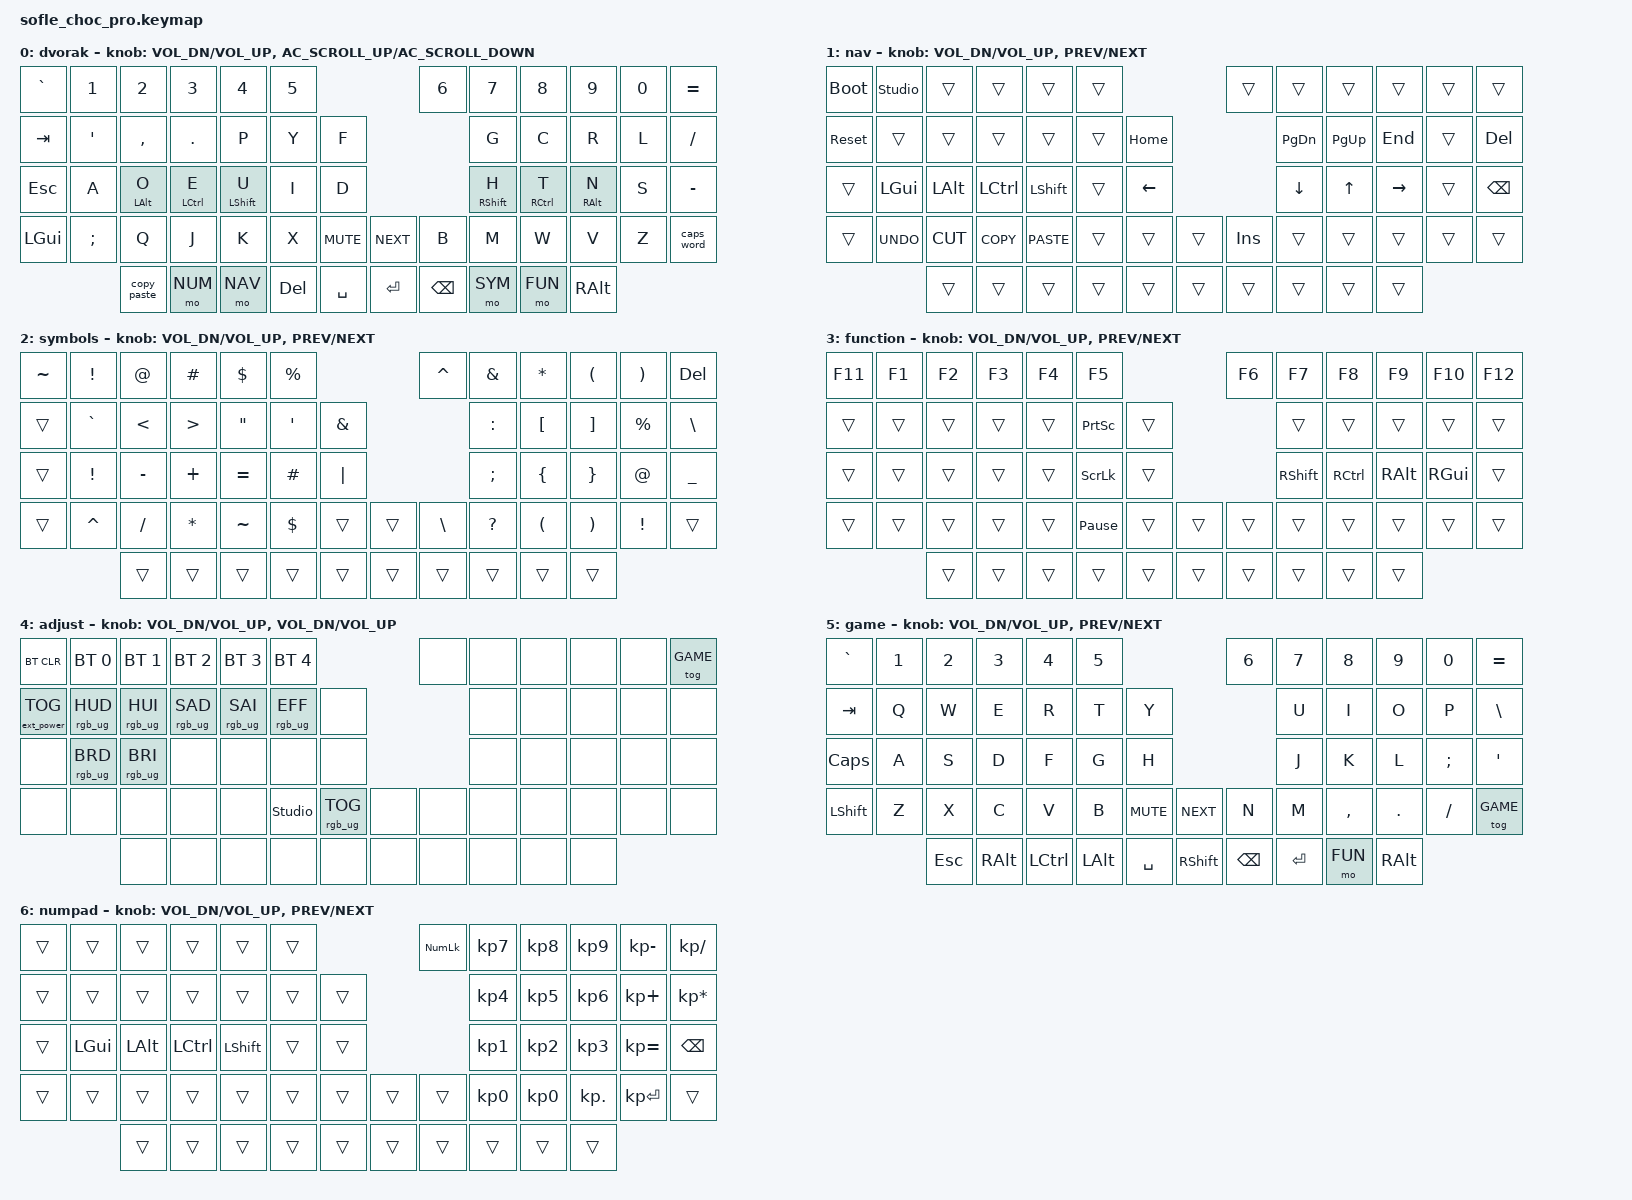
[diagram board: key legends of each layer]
/*
 * Copyright (c) 2020 The ZMK Contributors
 *
 * SPDX-License-Identifier: MIT
 */

#include <behaviors/caps_word.dtsi>
#include <dt-bindings/zmk/mouse.h>
#include <behaviors.dtsi>
#include <dt-bindings/zmk/bt.h>
#include <dt-bindings/zmk/ext_power.h>
#include <dt-bindings/zmk/keys.h>
#include <dt-bindings/zmk/pointing.h>
#include <dt-bindings/zmk/rgb.h>

#define BASE 0
#define NAV 1
#define SYM 2
#define FUN 3
#define ADJUST 4
#define GAME 5
#define NUM 6

/* Custom caps_word with continue-list for SNAKE_CASE and hyphenated-words */

&caps_word { continue-list = <UNDERSCORE MINUS BACKSPACE DELETE>; };

/ {
    behaviors {
        copy_paste: copy_paste {
            compatible = "zmk,behavior-mod-morph";
            label = "COPY_PASTE";
            #binding-cells = <0>;
            bindings = <&kp LC(C)>, <&kp LC(V)>;

            mods = <(MOD_LSFT|MOD_RSFT)>;
        };

        hml: home_row_mod_left {
            compatible = "zmk,behavior-hold-tap";
            label = "HOME_ROW_MOD_LEFT";
            bindings = <&kp>, <&kp>;

            #binding-cells = <2>;
            tapping-term-ms = <280>;
            quick-tap-ms = <175>;
            require-prior-idle-ms = <150>;
            flavor = "balanced";
            hold-trigger-on-release;
            hold-trigger-key-positions = <6 7 8 9 10 11 18 19 20 21 22 23 30 31 32 33 34 35 43 44 45 46 47 48 49 55 56 57 58 59>;
        };

        scroll_encoder: scroll_encoder {
            compatible = "zmk,behavior-sensor-rotate";
            #sensor-binding-cells = <0>;
            bindings = <&msc SCRL_DOWN>, <&msc SCRL_UP>;

            tap-ms = <30>;
        };

        hmr: home_row_mod_right {
            compatible = "zmk,behavior-hold-tap";
            label = "HOME_ROW_MOD_RIGHT";
            bindings = <&kp>, <&kp>;

            #binding-cells = <2>;
            tapping-term-ms = <280>;
            quick-tap-ms = <175>;
            require-prior-idle-ms = <150>;
            flavor = "balanced";
            hold-trigger-on-release;
            hold-trigger-key-positions = <0 1 2 3 4 5 12 13 14 15 16 17 24 25 26 27 28 29 36 37 38 39 40 41 42 50 51 52 53 54>;
        };
    };

    combos {
        compatible = "zmk,combos";

        combo_caps_word {
            timeout-ms = <50>;
            key-positions = <54 55>;
            bindings = <&caps_word>;
        };
    };

    conditional_layers {
        compatible = "zmk,conditional-layers";

        adjust_layer {
            if-layers = <NAV FUN>;
            then-layer = <ADJUST>;
        };
    };

    keymap {
        compatible = "zmk,keymap";

        base_layer {
            display-name = "dvorak";
            bindings = <
&kp GRAVE  &kp N1    &kp N2       &kp N3        &kp N4        &kp N5                                     &kp N6    &kp N7        &kp N8        &kp N9       &kp N0  &kp EQUAL
&kp TAB    &kp SQT   &kp COMMA    &kp DOT       &kp P         &kp Y    &kp F                                       &kp G         &kp C         &kp R        &kp L   &kp FSLH
&kp ESC    &kp A     &hml LALT O  &hml LCTRL E  &hml LSHFT U  &kp I    &kp D                                       &hmr RSHFT H  &hmr RCTRL T  &hmr RALT N  &kp S   &kp MINUS
&kp LGUI   &kp SEMI  &kp Q        &kp J         &kp K         &kp X    &kp C_MUTE       &kp C_NEXT       &kp B     &kp M         &kp W         &kp V        &kp Z   &caps_word
                     &copy_paste  &mo NUM       &mo NAV       &kp DEL  &kp SPACE  &kp ENTER  &kp BSPC  &mo SYM       &mo FUN       &kp RALT
            >;

            sensor-bindings =
                <&inc_dec_kp C_VOL_DN C_VOL_UP>,
                <&inc_dec_kp C_AC_SCROLL_UP C_AC_SCROLL_DOWN>;
        };

        nav_layer {
            display-name = "nav";
            bindings = <
&bootloader  &studio_unlock  &trans     &trans      &trans       &trans                    &trans   &trans     &trans     &trans     &trans  &trans
&sys_reset   &trans          &trans     &trans      &trans       &trans  &kp HOME                   &kp PG_DN  &kp PG_UP  &kp END    &trans  &kp DEL
&trans       &kp LGUI        &kp LALT   &kp LCTRL   &kp LSHFT    &trans  &kp LEFT                   &kp DOWN   &kp UP     &kp RIGHT  &trans  &kp BSPC
&trans       &kp K_UNDO      &kp K_CUT  &kp K_COPY  &kp K_PASTE  &trans  &trans    &trans  &kp INS  &trans     &trans     &trans     &trans  &trans
                             &trans     &trans      &trans       &trans  &trans    &trans  &trans   &trans     &trans     &trans
            >;

            sensor-bindings = <&inc_dec_kp C_VOL_DN C_VOL_UP &inc_dec_kp C_PREV C_NEXT>;
        };

        sym_layer {
            display-name = "symbols";
            bindings = <
&kp TILDE  &kp EXCL   &kp AT     &kp HASH   &kp DLLR   &kp PRCNT                    &kp CARET  &kp AMPS   &kp ASTRK  &kp LPAR  &kp RPAR   &kp DEL
&trans     &kp GRAVE  &kp LT     &kp GT     &kp DQT    &kp SQT    &kp AMPS                     &kp COLON  &kp LBKT   &kp RBKT  &kp PRCNT  &kp BSLH
&trans     &kp EXCL   &kp MINUS  &kp PLUS   &kp EQUAL  &kp HASH   &kp PIPE                     &kp SEMI   &kp LBRC   &kp RBRC  &kp AT     &kp UNDER
&trans     &kp CARET  &kp FSLH   &kp ASTRK  &kp TILDE  &kp DLLR   &trans    &trans  &kp BSLH   &kp QMARK  &kp LPAR   &kp RPAR  &kp EXCL   &trans
                      &trans     &trans     &trans     &trans     &trans    &trans  &trans     &trans     &trans     &trans
            >;

            sensor-bindings = <&inc_dec_kp C_VOL_DN C_VOL_UP &inc_dec_kp C_PREV C_NEXT>;
        };

        fun_layer {
            display-name = "function";
            bindings = <
&kp F11  &kp F1  &kp F2  &kp F3  &kp F4  &kp F5                           &kp F6  &kp F7     &kp F8     &kp F9    &kp F10   &kp F12
&trans   &trans  &trans  &trans  &trans  &kp PSCRN        &trans                  &trans     &trans     &trans    &trans    &trans
&trans   &trans  &trans  &trans  &trans  &kp SLCK         &trans                  &kp RSHFT  &kp RCTRL  &kp RALT  &kp RGUI  &trans
&trans   &trans  &trans  &trans  &trans  &kp PAUSE_BREAK  &trans  &trans  &trans  &trans     &trans     &trans    &trans    &trans
                 &trans  &trans  &trans  &trans           &trans  &trans  &trans  &trans     &trans     &trans
            >;

            sensor-bindings = <&inc_dec_kp C_VOL_DN C_VOL_UP &inc_dec_kp C_PREV C_NEXT>;
        };

        adjust_layer {
            display-name = "adjust";
            bindings = <
&bt BT_CLR         &bt BT_SEL 0     &bt BT_SEL 1     &bt BT_SEL 2     &bt BT_SEL 3     &bt BT_SEL 4                             &none  &none  &none  &none  &none  &tog GAME
&ext_power EP_TOG  &rgb_ug RGB_HUD  &rgb_ug RGB_HUI  &rgb_ug RGB_SAD  &rgb_ug RGB_SAI  &rgb_ug RGB_EFF  &none                          &none  &none  &none  &none  &none
&none              &rgb_ug RGB_BRD  &rgb_ug RGB_BRI  &none            &none            &none            &none                          &none  &none  &none  &none  &none
&none              &none            &none            &none            &none            &studio_unlock   &rgb_ug RGB_TOG  &none  &none  &none  &none  &none  &none  &none
                                    &none            &none            &none            &none            &none            &none  &none  &none  &none  &none
            >;

            sensor-bindings = <&inc_dec_kp C_VOL_DN C_VOL_UP &inc_dec_kp C_VOL_DN C_VOL_UP>;
        };

        game_layer {
            display-name = "game";
            bindings = <
&kp GRAVE     &kp N1  &kp N2      &kp N3         &kp N4            &kp N5                                &kp N6    &kp N7     &kp N8     &kp N9    &kp N0    &kp EQUAL
&kp TAB       &kp Q   &kp W       &kp E          &kp R             &kp T         &kp Y                             &kp U      &kp I      &kp O     &kp P     &kp BSLH
&kp CAPSLOCK  &kp A   &kp S       &kp D          &kp F             &kp G         &kp H                             &kp J      &kp K      &kp L     &kp SEMI  &kp SQT
&kp LSHFT     &kp Z   &kp X       &kp C          &kp V             &kp B         &kp C_MUTE  &kp C_NEXT  &kp N     &kp M      &kp COMMA  &kp DOT   &kp FSLH  &tog GAME
                      &kp ESCAPE  &kp RIGHT_ALT  &kp LEFT_CONTROL  &kp LEFT_ALT  &kp SPACE   &kp RSHFT   &kp BSPC  &kp ENTER  &mo FUN    &kp RALT
            >;

            sensor-bindings = <&inc_dec_kp C_VOL_DN C_VOL_UP &inc_dec_kp C_PREV C_NEXT>;
        };

        num_layer {
            display-name = "numpad";
            bindings = <
&trans      &trans        &trans       &trans        &trans        &trans                              &kp KP_NUM &kp KP_N7    &kp KP_N8    &kp KP_N9    &kp KP_MINUS  &kp KP_DIVIDE
&trans      &trans        &trans       &trans        &trans        &trans                              &trans     &kp KP_N4    &kp KP_N5    &kp KP_N6    &kp KP_PLUS   &kp KP_MULTIPLY
&trans      &kp LGUI      &kp LALT    &kp LCTRL     &kp LSHFT     &trans                              &trans     &kp KP_N1    &kp KP_N2    &kp KP_N3    &kp KP_EQUAL  &kp BSPC
&trans      &trans        &trans       &trans        &trans        &trans     &trans      &trans       &trans     &kp KP_N0    &kp KP_N0    &kp KP_DOT   &kp KP_ENTER  &trans
                          &trans       &trans        &trans        &trans     &trans                   &trans     &trans       &trans       &trans       &trans
            >;
            sensor-bindings = <&inc_dec_kp C_VOL_DN C_VOL_UP &inc_dec_kp C_PREV C_NEXT>;
        };
    };
};
